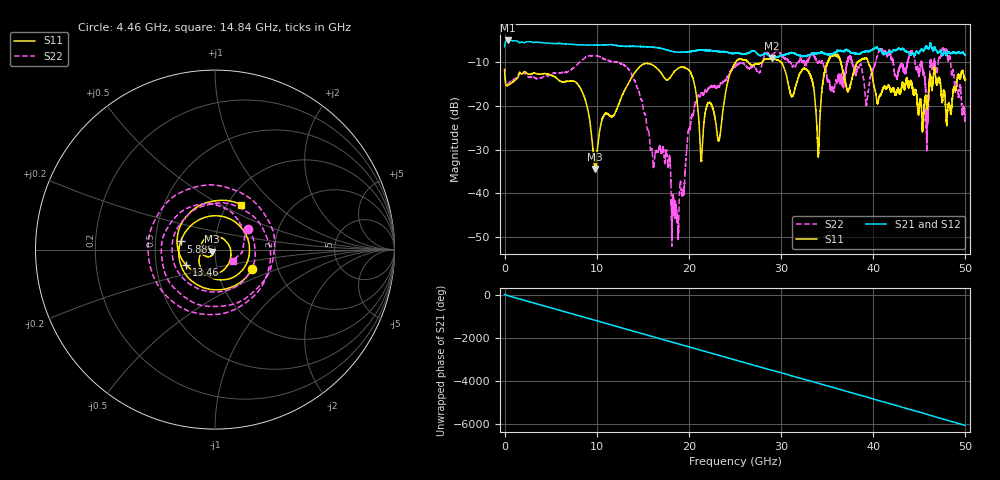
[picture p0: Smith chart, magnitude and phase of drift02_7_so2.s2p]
!Created with skrf (http://scikit-rf.org).
# Hz S RI R 50.0
!freq ReS11 ImS11 ReS21 ImS21 ReS12 ImS12 ReS22 ImS22
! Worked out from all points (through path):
!   10001 points, 300 kHz to 50 GHz, reference 50 ohm
!   highest |S21| = -5.04 dB at 325.3 MHz (marker M1); lowest = -9.0 dB at 29.05 GHz (marker M2)
!   group delay of S21, straight-line fit = 336 ps
!   lowest |S11| = -34.4 dB at 9.84 GHz (marker M3), VSWR 1.04, Z = 48.5 - j1.06 ohm
!   |S11| at or under -10 dB: start of sweep to 25.07 GHz; 29.98 GHz to 35.07 GHz (5.085 GHz wide, 15.6 % of centre); 39.47 GHz to end of sweep (the widest 3 of 11)
!   |S22| runs from -52.1 to -6.7 dB; largest |S21 - S12| = 0.024
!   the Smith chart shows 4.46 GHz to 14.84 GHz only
!   S11 on the Smith chart (normalised r, x): 4.46 GHz: 1.47, -0.34; 5.885 GHz: 0.68, +0.06; 13.46 GHz: 0.71, -0.13; 14.84 GHz: 1.15, +0.63
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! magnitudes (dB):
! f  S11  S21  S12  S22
! 300 kHz  -11.7  -6.5  -6.4  -11.6
! 325.3 MHz  -15.4  -5.0  -5.0  -15.0
! 4.46 GHz  -12.7  -5.6  -5.6  -13.3
! 5.885 GHz  -14.1  -5.7  -5.7  -12.5
! 8.335 GHz  -16.4  -6.1  -6.0  -9.7
! 9.84 GHz  -34.4  -6.1  -6.1  -8.6
! 13.46 GHz  -14.7  -6.4  -6.4  -11.6
! 14.84 GHz  -10.8  -6.4  -6.4  -18.5
! 16.67 GHz  -11.7  -6.7  -6.7  -30.3
! 18.67 GHz  -11.7  -7.7  -7.7  -46.2
! 20.37 GHz  -13.3  -7.5  -7.5  -22.0
! 21.37 GHz  -32.4  -7.3  -7.3  -17.1
! 23.3 GHz  -27.7  -7.6  -7.6  -15.5
! 25 GHz  -10.3  -8.0  -8.0  -11.1
! 29.05 GHz  -9.1  -9.0  -9.0  -8.3
! 33.34 GHz  -14.0  -8.1  -8.2  -8.0
! 34.02 GHz  -31.4  -7.9  -8.0  -10.1
! 35.52 GHz  -8.5  -8.2  -8.1  -15.8
! 41.67 GHz  -15.3  -7.7  -7.9  -7.6
! 45.86 GHz  -20.6  -6.7  -6.8  -21.6
! 47.76 GHz  -17.1  -7.5  -7.6  -7.2
! 50 GHz  -14.0  -8.4  -8.5  -22.1
